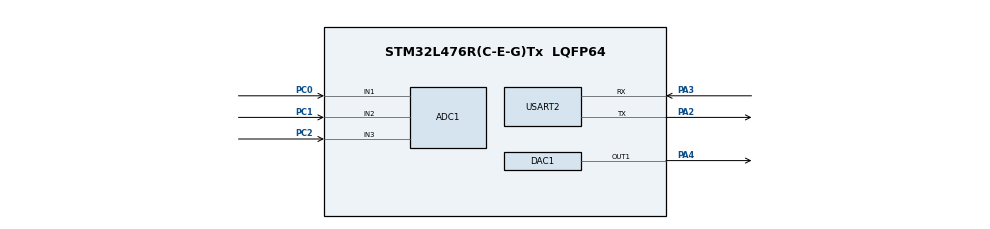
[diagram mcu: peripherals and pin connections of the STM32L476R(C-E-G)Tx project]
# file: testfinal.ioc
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ADC1.Channel-0\#ChannelRegularConversion=ADC_CHANNEL_1
ADC1.Channel-1\#ChannelRegularConversion=ADC_CHANNEL_2
ADC1.Channel-2\#ChannelRegularConversion=ADC_CHANNEL_3
ADC1.DMAContinuousRequests=ENABLE
ADC1.ExternalTrigConv=ADC_EXTERNALTRIG_T3_TRGO
ADC1.NbrOfConversion=3
ADC1.NbrOfConversionFlag=1
ADC1.OffsetNumber-0\#ChannelRegularConversion=ADC_OFFSET_NONE
ADC1.OffsetNumber-1\#ChannelRegularConversion=ADC_OFFSET_NONE
ADC1.OffsetNumber-2\#ChannelRegularConversion=ADC_OFFSET_NONE
ADC1.Rank-0\#ChannelRegularConversion=1
ADC1.Rank-1\#ChannelRegularConversion=2
ADC1.Rank-2\#ChannelRegularConversion=3
ADC1.SamplingTime-0\#ChannelRegularConversion=ADC_SAMPLETIME_2CYCLES_5
ADC1.SamplingTime-1\#ChannelRegularConversion=ADC_SAMPLETIME_2CYCLES_5
ADC1.SamplingTime-2\#ChannelRegularConversion=ADC_SAMPLETIME_2CYCLES_5
ADC1.master=1
DAC1.DAC_Trigger-DAC_OUT1=DAC_TRIGGER_T2_TRGO
Dma.ADC1.0.Direction=DMA_PERIPH_TO_MEMORY
Dma.ADC1.0.Instance=DMA1_Channel1
Dma.ADC1.0.MemDataAlignment=DMA_MDATAALIGN_WORD
Dma.ADC1.0.MemInc=DMA_MINC_ENABLE
Dma.ADC1.0.Mode=DMA_CIRCULAR
Dma.ADC1.0.PeriphDataAlignment=DMA_PDATAALIGN_WORD
Dma.ADC1.0.PeriphInc=DMA_PINC_DISABLE
Dma.ADC1.0.Priority=DMA_PRIORITY_HIGH
Dma.DAC_CH1.1.Direction=DMA_MEMORY_TO_PERIPH
Dma.DAC_CH1.1.Instance=DMA1_Channel3
Dma.DAC_CH1.1.MemDataAlignment=DMA_MDATAALIGN_WORD
Dma.DAC_CH1.1.MemInc=DMA_MINC_ENABLE
Dma.DAC_CH1.1.Mode=DMA_CIRCULAR
Dma.DAC_CH1.1.PeriphDataAlignment=DMA_PDATAALIGN_WORD
Dma.DAC_CH1.1.PeriphInc=DMA_PINC_DISABLE
Dma.DAC_CH1.1.Priority=DMA_PRIORITY_LOW
Dma.Request0=ADC1
Dma.Request1=DAC_CH1
Mcu.Family=STM32L4
Mcu.Name=STM32L476R(C-E-G)Tx
Mcu.Package=LQFP64
NVIC.DMA1_Channel1_IRQn=true\:0\:0\:false\:false\:true\:false\:true\:true
NVIC.DMA1_Channel3_IRQn=true\:0\:0\:false\:false\:true\:false\:true\:true
NVIC.PriorityGroup=NVIC_PRIORITYGROUP_4
NVIC.USART2_IRQn=true\:0\:0\:false\:false\:true\:true\:true\:true
PA2.Mode=Asynchronous
PA2.Signal=USART2_TX
PA3.Mode=Asynchronous
PA3.Signal=USART2_RX
PA4.Signal=COMP_DAC11_group
PC0.Signal=ADCx_IN1
PC1.Signal=ADCx_IN2
PC2.Signal=ADCx_IN3
ProjectManager.HeapSize=0x200
ProjectManager.StackSize=0x400
ProjectManager.TargetToolchain=STM32CubeIDE
RCC.ADCFreq_Value=32000000
RCC.HSE_VALUE=8000000
RCC.HSI_VALUE=16000000
RCC.LSE_VALUE=32768
RCC.MSI_VALUE=4000000
RCC.PLLSAI1N=16
RCC.USBFreq_Value=32000000
RCC.VCOOutputFreq_Value=32000000
SH.ADCx_IN1.0=ADC1_IN1,IN1-Single-Ended
SH.ADCx_IN2.0=ADC1_IN2,IN2-Single-Ended
SH.ADCx_IN3.0=ADC1_IN3,IN3-Single-Ended
SH.COMP_DAC11_group.0=DAC1_OUT1,DAC_OUT1
TIM2.Period=999
TIM2.Prescaler=3
TIM2.TIM_MasterOutputTrigger=TIM_TRGO_UPDATE
TIM3.Period=999
TIM3.Prescaler=3
TIM3.TIM_MasterOutputTrigger=TIM_TRGO_UPDATE
USART2.VirtualMode-Asynchronous=VM_ASYNC
VP_TIM2_VS_ClockSourceINT.Mode=Internal
VP_TIM3_VS_ClockSourceINT.Mode=Internal
board=custom

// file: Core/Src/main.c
/* USER CODE BEGIN Header */
/**
  ******************************************************************************
  * @file           : main.c
  * @brief          : Main program body
  ******************************************************************************
  * @attention
  *
  * Copyright (c) 2025 STMicroelectronics.
  * All rights reserved.
  *
  * This software is licensed under terms that can be found in the LICENSE file
  * in the root directory of this software component.
  * If no LICENSE file comes with this software, it is provided AS-IS.
  *
  ******************************************************************************
  */
/* USER CODE END Header */
#include "main.h"

/* USER CODE BEGIN Includes */
#include <string.h>
#include <stdio.h>
#include <stdio.h>
#include <stdlib.h>
#include <string.h>
#include <errno.h>
#include <fcntl.h>
#include <time.h>
#include <assert.h>
#include <math.h>
#include "function.h"

/* USER CODE END Includes */

ADC_HandleTypeDef hadc1;
DMA_HandleTypeDef hdma_adc1;

DAC_HandleTypeDef hdac1;
DMA_HandleTypeDef hdma_dac_ch1;

TIM_HandleTypeDef htim2;
TIM_HandleTypeDef htim3;

UART_HandleTypeDef huart2;

void SystemClock_Config(void);
static void MX_GPIO_Init(void);
static void MX_DMA_Init(void);
static void MX_ADC1_Init(void);
static void MX_TIM3_Init(void);
static void MX_USART2_UART_Init(void);
static void MX_DAC1_Init(void);
static void MX_TIM2_Init(void);

/* USER CODE BEGIN 0 */
uint32_t ADC_VAL[18];
uint8_t UART2_rxBuffer;
int indext = 0;
int indextemp=0;
float *TrainData;
float TestData[36];
float Temp[90];
int *TrainClass;
float *Feature_matrix;
FILE *TraindataFile=NULL;
FILE *TestdataFile=NULL;
FILE *PSFile=NULL;
FILE *WgCgFile=NULL;
FILE *FeatureMatrixFile=NULL;
int i,j,m;
float *Wg;
float *Cg;
float accuracy;
float test_accuracy = 0.0;
int num_correct;
int total_win_num;
int test_decision;
float *xmean;
float *xstd;
int trial_idx=0;
int class_idx=0;
int feature_matrix_idx=0;

#define DAC_BUFFER_SIZE 4000  // Number of steps in DAC waveform
uint32_t dacBuffer[DAC_BUFFER_SIZE];  // Buffer to store DAC values
/* USER CODE END 0 */

int main(void)
{

  /* USER CODE BEGIN 1 */
	for (int i = 0; i < DAC_BUFFER_SIZE; i++) {
	    if (i == 0) {
	        dacBuffer[i] = 0;  // Start at 0
	    }
	    else if (i % 2 == 0) {
	        dacBuffer[i] = dacBuffer[i - 1] + 1; // Increment every 5th step
	    }
	    else {
	        dacBuffer[i] = dacBuffer[i - 1]; // Copy the previous value
	    }
	}

		Wg=(float*)malloc(FEATURE_DIM*CLASS*sizeof(float));
		Cg=(float*)malloc(1*CLASS*sizeof(float));
		xmean=(float*)malloc(1*FEATURE_DIM*sizeof(float));
		xstd=(float*)malloc(1*FEATURE_DIM*sizeof(float));
		TrainData = (float*)malloc(CHANNEL*DATA_PER_TRIAL*sizeof(float));  //raw EMG data of the training dataset
		TrainClass = (int*)malloc(CLASS*WIN_PER_TRIAL*TRIAL_PER_CLASS*sizeof(int));     //class label for the training dataset
		Feature_matrix = (float*)malloc(CLASS*WIN_PER_TRIAL*TRIAL_PER_CLASS*FEATURE_DIM*sizeof(float));

		// Initialize dynamically allocated memory
		float Wg_init[FEATURE_DIM * CLASS] = {
		-39.865700, 38.494923, 1.370464,
		9.822060, -5.708473, -4.113415,
		-18.450970, 12.169329, 6.281702,
		-53.120068, 30.987568, 22.132446,
		-29.518837, 22.895094, 6.623897,
		26.794121, -22.134504, -4.659643,
		10.020878, -1.226090, -8.794820,
		-30.046625, 22.034584, 8.012098,
		-20.616077, 21.666063, -1.050015,
		-7.809905, 12.735570, -4.925624,
		-22.981161, 15.353989, 7.627159,
		-9.838930, 4.600960, 5.238039
		};

		float Cg_init[CLASS] = { -114.407043 ,-79.437294 ,-18.518524 };

		float xmean_init[FEATURE_DIM] = {0.028282, 0.016302, 0.281820, 0.597252, 0.009159, -0.000722, 0.163879, 0.506750, 0.038467, 0.031548, 0.411250, 0.871206};

		float xstd_init[FEATURE_DIM] = {0.026960, 0.022577, 0.206790, 0.364972, 0.005131, 0.002215, 0.159099, 0.324362, 0.038447, 0.043558, 0.198841, 0.211047};

  /* USER CODE END 1 */

  /* MCU Configuration--------------------------------------------------------*/

  /* Reset of all peripherals, Initializes the Flash interface and the Systick. */
  HAL_Init();

  /* USER CODE BEGIN Init */

  for (i = 0; i < FEATURE_DIM * CLASS; i++) {
            Wg[i] = Wg_init[i];
        }
        for (i = 0; i < CLASS; i++) {
            Cg[i] = Cg_init[i];
        }
        for (i = 0; i < FEATURE_DIM; i++) {
            xmean[i] = xmean_init[i];
            xstd[i] = xstd_init[i];
        }

  /* USER CODE END Init */

  /* Configure the system clock */
  SystemClock_Config();

  /* Initialize all configured peripherals */
  MX_GPIO_Init();
  MX_DMA_Init();
  MX_ADC1_Init();
  MX_TIM3_Init();
  MX_USART2_UART_Init();
  MX_DAC1_Init();
  MX_TIM2_Init();
  /* USER CODE BEGIN 2 */
  HAL_TIM_Base_Start(&htim2);
  HAL_UART_Receive_IT (&huart2, &UART2_rxBuffer, 1);
  //HAL_TIM_Base_Start(&htim3);
  //HAL_ADC_Start_DMA(&hadc1,ADC_VAL, 3);
  HAL_DAC_Start_DMA(&hdac1, DAC_CHANNEL_1, dacBuffer, DAC_BUFFER_SIZE, DAC_ALIGN_12B_R);

  /* USER CODE END 2 */

  /* Infinite loop */
  while (1)
  {

  }
}

void SystemClock_Config(void)
{
  RCC_OscInitTypeDef RCC_OscInitStruct = {0};
  RCC_ClkInitTypeDef RCC_ClkInitStruct = {0};

  /** Configure the main internal regulator output voltage
  */
  if (HAL_PWREx_ControlVoltageScaling(PWR_REGULATOR_VOLTAGE_SCALE1) != HAL_OK)
  {
    Error_Handler();
  }

  /** Initializes the RCC Oscillators according to the specified parameters
  * in the RCC_OscInitTypeDef structure.
  */
  RCC_OscInitStruct.OscillatorType = RCC_OSCILLATORTYPE_MSI;
  RCC_OscInitStruct.MSIState = RCC_MSI_ON;
  RCC_OscInitStruct.MSICalibrationValue = 0;
  RCC_OscInitStruct.MSIClockRange = RCC_MSIRANGE_6;
  RCC_OscInitStruct.PLL.PLLState = RCC_PLL_NONE;
  if (HAL_RCC_OscConfig(&RCC_OscInitStruct) != HAL_OK)
  {
    Error_Handler();
  }

  /** Initializes the CPU, AHB and APB buses clocks
  */
  RCC_ClkInitStruct.ClockType = RCC_CLOCKTYPE_HCLK|RCC_CLOCKTYPE_SYSCLK
                              |RCC_CLOCKTYPE_PCLK1|RCC_CLOCKTYPE_PCLK2;
  RCC_ClkInitStruct.SYSCLKSource = RCC_SYSCLKSOURCE_MSI;
  RCC_ClkInitStruct.AHBCLKDivider = RCC_SYSCLK_DIV1;
  RCC_ClkInitStruct.APB1CLKDivider = RCC_HCLK_DIV1;
  RCC_ClkInitStruct.APB2CLKDivider = RCC_HCLK_DIV1;

  if (HAL_RCC_ClockConfig(&RCC_ClkInitStruct, FLASH_LATENCY_0) != HAL_OK)
  {
    Error_Handler();
  }
}

static void MX_ADC1_Init(void)
{

  ADC_MultiModeTypeDef multimode = {0};
  ADC_ChannelConfTypeDef sConfig = {0};

  /** Common config
  */
  hadc1.Instance = ADC1;
  hadc1.Init.ClockPrescaler = ADC_CLOCK_ASYNC_DIV1;
  hadc1.Init.Resolution = ADC_RESOLUTION_12B;
  hadc1.Init.DataAlign = ADC_DATAALIGN_RIGHT;
  hadc1.Init.ScanConvMode = ADC_SCAN_ENABLE;
  hadc1.Init.EOCSelection = ADC_EOC_SINGLE_CONV;
  hadc1.Init.LowPowerAutoWait = DISABLE;
  hadc1.Init.ContinuousConvMode = DISABLE;
  hadc1.Init.NbrOfConversion = 3;
  hadc1.Init.DiscontinuousConvMode = DISABLE;
  hadc1.Init.ExternalTrigConv = ADC_EXTERNALTRIG_T3_TRGO;
  hadc1.Init.ExternalTrigConvEdge = ADC_EXTERNALTRIGCONVEDGE_RISING;
  hadc1.Init.DMAContinuousRequests = ENABLE;
  hadc1.Init.Overrun = ADC_OVR_DATA_PRESERVED;
  hadc1.Init.OversamplingMode = DISABLE;
  if (HAL_ADC_Init(&hadc1) != HAL_OK)
  {
    Error_Handler();
  }

  /** Configure the ADC multi-mode
  */
  multimode.Mode = ADC_MODE_INDEPENDENT;
  if (HAL_ADCEx_MultiModeConfigChannel(&hadc1, &multimode) != HAL_OK)
  {
    Error_Handler();
  }

  /** Configure Regular Channel
  */
  sConfig.Channel = ADC_CHANNEL_1;
  sConfig.Rank = ADC_REGULAR_RANK_1;
  sConfig.SamplingTime = ADC_SAMPLETIME_2CYCLES_5;
  sConfig.SingleDiff = ADC_SINGLE_ENDED;
  sConfig.OffsetNumber = ADC_OFFSET_NONE;
  sConfig.Offset = 0;
  if (HAL_ADC_ConfigChannel(&hadc1, &sConfig) != HAL_OK)
  {
    Error_Handler();
  }

  /** Configure Regular Channel
  */
  sConfig.Channel = ADC_CHANNEL_2;
  sConfig.Rank = ADC_REGULAR_RANK_2;
  if (HAL_ADC_ConfigChannel(&hadc1, &sConfig) != HAL_OK)
  {
    Error_Handler();
  }

  /** Configure Regular Channel
  */
  sConfig.Channel = ADC_CHANNEL_3;
  sConfig.Rank = ADC_REGULAR_RANK_3;
  if (HAL_ADC_ConfigChannel(&hadc1, &sConfig) != HAL_OK)
  {
    Error_Handler();
  }

}

static void MX_DAC1_Init(void)
{

  DAC_ChannelConfTypeDef sConfig = {0};

  /** DAC Initialization
  */
  hdac1.Instance = DAC1;
  if (HAL_DAC_Init(&hdac1) != HAL_OK)
  {
    Error_Handler();
  }

  /** DAC channel OUT1 config
  */
  sConfig.DAC_SampleAndHold = DAC_SAMPLEANDHOLD_DISABLE;
  sConfig.DAC_Trigger = DAC_TRIGGER_T2_TRGO;
  sConfig.DAC_OutputBuffer = DAC_OUTPUTBUFFER_ENABLE;
  sConfig.DAC_ConnectOnChipPeripheral = DAC_CHIPCONNECT_DISABLE;
  sConfig.DAC_UserTrimming = DAC_TRIMMING_FACTORY;
  if (HAL_DAC_ConfigChannel(&hdac1, &sConfig, DAC_CHANNEL_1) != HAL_OK)
  {
    Error_Handler();
  }

}

static void MX_TIM2_Init(void)
{

  TIM_ClockConfigTypeDef sClockSourceConfig = {0};
  TIM_MasterConfigTypeDef sMasterConfig = {0};

  htim2.Instance = TIM2;
  htim2.Init.Prescaler = 3;
  htim2.Init.CounterMode = TIM_COUNTERMODE_UP;
  htim2.Init.Period = 999;
  htim2.Init.ClockDivision = TIM_CLOCKDIVISION_DIV1;
  htim2.Init.AutoReloadPreload = TIM_AUTORELOAD_PRELOAD_DISABLE;
  if (HAL_TIM_Base_Init(&htim2) != HAL_OK)
  {
    Error_Handler();
  }
  sClockSourceConfig.ClockSource = TIM_CLOCKSOURCE_INTERNAL;
  if (HAL_TIM_ConfigClockSource(&htim2, &sClockSourceConfig) != HAL_OK)
  {
    Error_Handler();
  }
  sMasterConfig.MasterOutputTrigger = TIM_TRGO_UPDATE;
  sMasterConfig.MasterSlaveMode = TIM_MASTERSLAVEMODE_DISABLE;
  if (HAL_TIMEx_MasterConfigSynchronization(&htim2, &sMasterConfig) != HAL_OK)
  {
    Error_Handler();
  }

}

static void MX_TIM3_Init(void)
{

  TIM_ClockConfigTypeDef sClockSourceConfig = {0};
  TIM_MasterConfigTypeDef sMasterConfig = {0};

  htim3.Instance = TIM3;
  htim3.Init.Prescaler = 3;
  htim3.Init.CounterMode = TIM_COUNTERMODE_UP;
  htim3.Init.Period = 999;
  htim3.Init.ClockDivision = TIM_CLOCKDIVISION_DIV1;
  htim3.Init.AutoReloadPreload = TIM_AUTORELOAD_PRELOAD_DISABLE;
  if (HAL_TIM_Base_Init(&htim3) != HAL_OK)
  {
    Error_Handler();
  }
  sClockSourceConfig.ClockSource = TIM_CLOCKSOURCE_INTERNAL;
  if (HAL_TIM_ConfigClockSource(&htim3, &sClockSourceConfig) != HAL_OK)
  {
    Error_Handler();
  }
  sMasterConfig.MasterOutputTrigger = TIM_TRGO_UPDATE;
  sMasterConfig.MasterSlaveMode = TIM_MASTERSLAVEMODE_DISABLE;
  if (HAL_TIMEx_MasterConfigSynchronization(&htim3, &sMasterConfig) != HAL_OK)
  {
    Error_Handler();
  }

}

static void MX_USART2_UART_Init(void)
{

  huart2.Instance = USART2;
  huart2.Init.BaudRate = 115200;
  huart2.Init.WordLength = UART_WORDLENGTH_8B;
  huart2.Init.StopBits = UART_STOPBITS_1;
  huart2.Init.Parity = UART_PARITY_NONE;
  huart2.Init.Mode = UART_MODE_TX_RX;
  huart2.Init.HwFlowCtl = UART_HWCONTROL_NONE;
  huart2.Init.OverSampling = UART_OVERSAMPLING_16;
  huart2.Init.OneBitSampling = UART_ONE_BIT_SAMPLE_DISABLE;
  huart2.AdvancedInit.AdvFeatureInit = UART_ADVFEATURE_NO_INIT;
  if (HAL_UART_Init(&huart2) != HAL_OK)
  {
    Error_Handler();
  }

}

static void MX_DMA_Init(void)
{

  /* DMA controller clock enable */
  __HAL_RCC_DMA1_CLK_ENABLE();

  /* DMA interrupt init */
  /* DMA1_Channel1_IRQn interrupt configuration */
  HAL_NVIC_SetPriority(DMA1_Channel1_IRQn, 0, 0);
  HAL_NVIC_EnableIRQ(DMA1_Channel1_IRQn);
  /* DMA1_Channel3_IRQn interrupt configuration */
  HAL_NVIC_SetPriority(DMA1_Channel3_IRQn, 0, 0);
  HAL_NVIC_EnableIRQ(DMA1_Channel3_IRQn);

}

static void MX_GPIO_Init(void)
{

  /* GPIO Ports Clock Enable */
  __HAL_RCC_GPIOC_CLK_ENABLE();
  __HAL_RCC_GPIOA_CLK_ENABLE();

}

/* USER CODE BEGIN 4 */

void HAL_UART_RxCpltCallback(UART_HandleTypeDef *huart)
{

    char message[] = "Character received: ";
    HAL_UART_Transmit(&huart2, (uint8_t *)message, strlen(message), 100);  // Send message
    HAL_UART_Transmit(&huart2, &UART2_rxBuffer, 1, 100);  // Send received character
    HAL_UART_Transmit(&huart2, (uint8_t *)"\r\n", 2, 100);  // Newline for readability
    //Restart reception for the next character

    if (UART2_rxBuffer == 'a'){
    		HAL_TIM_Base_Start(&htim3);
    		HAL_ADC_Start_DMA(&hadc1,ADC_VAL, 18);

    }
	else if (UART2_rxBuffer == 's'){
		HAL_TIM_Base_Stop(&htim3);
		HAL_ADC_Stop_DMA(&hadc1);
	}

    HAL_UART_Receive_IT(&huart2, &UART2_rxBuffer, 1);

}

void HAL_ADC_ConvHalfCpltCallback(ADC_HandleTypeDef *hadc)
{
    if (indextemp >= 54) {
        HAL_TIM_Base_Stop(&htim3);
        HAL_ADC_Stop_DMA(&hadc1);
        indextemp = 0;
        indext = 0;
        return;
    }
    // Store ADC values from first half of DMA buffer
    if (indext < 36)
    {
        for (int i = 0; i < 9; i++){
            TestData[indext + i] = (float)ADC_VAL[i] + 0.1;
            Temp[indext + i] = TestData[indext + i];
        }
        indext += 9;
        indextemp += 9;
    }
    else
    {
        // Shift left (remove oldest values)
        for (int i = 0; i < 27; i++){
        	TestData[i] = TestData[i + 9];
        }

        // Add new values to the end
        for (int i = 0; i < 9; i++){
            TestData[27 + i] = (float)ADC_VAL[i] + 0.1;
            if (indextemp + i < 54)  // Prevent array overflow
                Temp[indextemp + i] = TestData[27 + i];
        }
        indextemp += 9;
    }
}

void HAL_ADC_ConvCpltCallback(ADC_HandleTypeDef *hadc)
{
    if (indextemp >= 54)  // Prevent exceeding limit
    {
        HAL_TIM_Base_Stop(&htim3);
        HAL_ADC_Stop_DMA(&hadc1);
        indextemp = 0;
        indext = 0;
        return;
    }

    // Store ADC values from second half of DMA buffer
    if (indext <36)
    {
        for (int i = 0; i < 9; i++)
        {
            TestData[indext + i] = (float)ADC_VAL[i + 9] + 0.5;  // Fix: Correct indexing
            Temp[indext + i] = TestData[indext + i];
        }
        indext += 9;
        indextemp += 9;
    }
    else
    {
        // Shift left (remove oldest values)
        for (int i = 0; i < 27; i++)  // Fix: Stop at index 21 to prevent out-of-bounds
        {
            TestData[i] = TestData[i + 9];
        }

        // Add new values to the end
        for (int i = 0; i < 9; i++){
            TestData[27 + i] = (float)ADC_VAL[i + 9] + 0.5;
            if (indextemp + i < 54)  // Prevent array overflow
                Temp[indextemp + i] = TestData[27 + i];
        }
        indextemp += 9;
    }
}

/* USER CODE END 4 */

void Error_Handler(void)
{
  __disable_irq();
  while (1)
  {
  }
}
